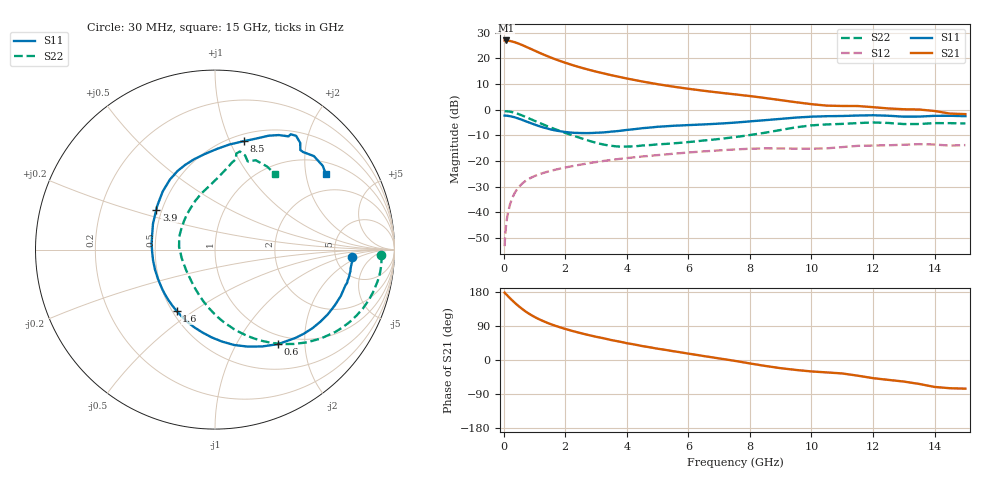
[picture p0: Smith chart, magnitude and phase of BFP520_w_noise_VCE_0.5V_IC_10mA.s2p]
! Infineon Technologies  Discrete & RF Semiconductors
! BFP520
! VCE =  0.5 V,  IC =  10 mA
! Common Emitter S-Parameters:  Oct 2015
# GHz  S  MA  R  50
!  f  S11  S21  S12  S22
! GHz  MAG  ANG  MAG  ANG  MAG  ANG  MAG  ANG
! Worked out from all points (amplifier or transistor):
!   109 points, 30 MHz to 15 GHz, reference 50 ohm
!   highest |S21| = 26.9 dB at 70 MHz (marker M1)
!   |S21| within 3 dB of that: start of sweep to 826.3 MHz
!   unconditionally stable (mu >= 1): 3.034 GHz to end of sweep
!   at 450 MHz: K = 0.25, MSG = 28.3 dB, |S12| = -30.8 dB
!   at 4 GHz: K = 1.11, MAG = 13.5 dB, |S12| = -18.8 dB
!   at 15 GHz: K = 1.33, MAG = 2.6 dB, |S12| = -13.8 dB
!   lowest NFmin = 1.53 dB at 900 MHz
!   S11 on the Smith chart (normalised r, x): 30 MHz: 7.24, -1.50; 600 MHz: 0.86, -1.51; 1.6 GHz: 0.53, -0.43; 3.9 GHz: 0.47, +0.25; 8.5 GHz: 0.57, +1.13; 15 GHz: 1.38, +2.61
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0.03  0.7663 -3.2  22.23 177.7  0.0022 88.9  0.9268 -1.7
0.07  0.7633 -7.2  22.24 174.0  0.005 86.7  0.93 -4.7
0.2  0.7471 -20.2  21.74 163.5  0.0139 80.1  0.9144 -14.4
0.35  0.7112 -34.4  20.61 151.8  0.0234 73.1  0.871 -24.8
0.45  0.6812 -43.5  19.65 144.6  0.029 68.9  0.8335 -31.2
0.6  0.6335 -56.2  18.12 134.7  0.0363 63.7  0.7704 -40.0
0.7  0.6 -64.1  17.05 128.7  0.0406 60.5  0.7273 -45.3
0.8  0.5693 -71.6  16 123.3  0.0443 57.8  0.6852 -50.1
1  0.514 -85.6  14.15 113.8  0.0508 53.6  0.6078 -58.8
1.1  0.4898 -92.1  13.3 109.6  0.0537 51.9  0.5731 -62.6
1.3  0.4487 -104.7  11.8 102.1  0.0589 49.0  0.5108 -69.8
1.6  0.4028 -122.1  9.974 92.5  0.0659 45.7  0.432 -79.5
2  0.3679 -142.7  8.191 82.0  0.0747 42.2  0.3535 -91.3
2.6  0.3503 -170.2  6.362 68.9  0.0873 37.7  0.2675 -109.5
3  0.3553 174.3  5.504 61.3  0.0954 34.6  0.2268 -123.6
3.9  0.3955 145.8  4.164 46.2  0.1124 27.2  0.1907 -161.1
5.1  0.4679 121.2  3.066 28.6  0.1318 17.8  0.2127 157.8
7.6  0.5653 87.8  1.958 -3.5  0.169 -3.5  0.297 110.6
8.5  0.6247 75.2  1.684 -15.7  0.1762 -12.7  0.3559 95.1
10.5  0.7463 58.0  1.197 -32.8  0.1767 -24.5  0.5158 77.1
13  0.7305 49.4  1.019 -56.9  0.2074 -44.4  0.5244 69.7
15  0.7464 34.1  0.819 -75.6  0.2043 -60.1  0.538 51.5
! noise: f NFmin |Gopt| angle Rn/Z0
0.45  1.55  0.27  1  0.29
0.9  1.53  0.25  5  0.31
1.9  1.71  0.23  12  0.27
2.4  1.73  0.19  24  0.27
3.5  1.66  0.17  46  0.26
